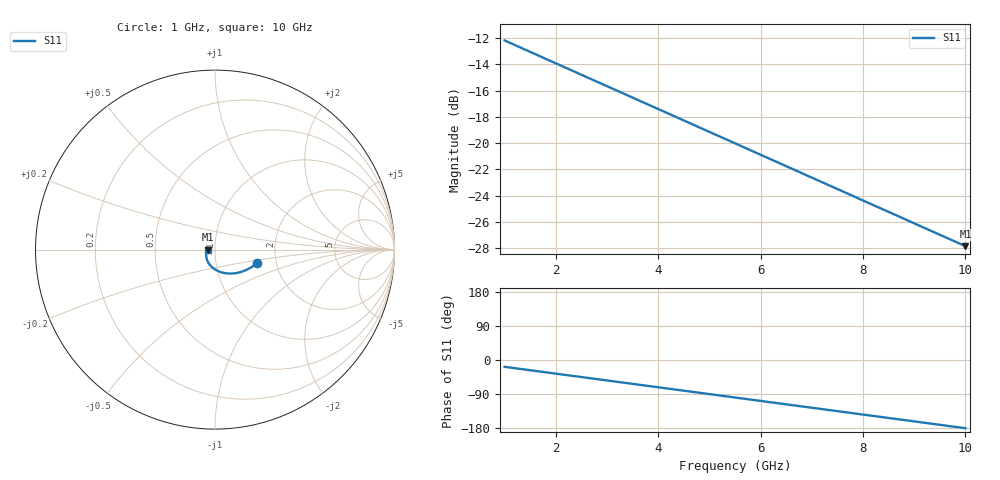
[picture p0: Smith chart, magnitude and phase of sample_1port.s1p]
! Created with skrf 1.8.0 (http://scikit-rf.org).
# Hz S RI R 50.0
!freq ReS11 ImS11
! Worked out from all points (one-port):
!   1001 points, 1 GHz to 10 GHz, reference 50 ohm
!   lowest |S11| = -27.8 dB at 10 GHz (marker M1), VSWR 1.08, Z = 46.1 - j4.59e-16 ohm
!   |S11| at or under -10 dB: start of sweep to end of sweep
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1e9  0.2336 -0.0759
1.045e9  0.2304 -0.0785
1.324e9  0.2106 -0.093
1.576e9  0.1926 -0.104
1.846e9  0.1735 -0.1136
2.125e9  0.154 -0.1214
2.395e9  0.1357 -0.127
2.674e9  0.1173 -0.1309
2.953e9  0.0997 -0.133
3.25e9  0.0818 -0.1335
3.511e9  0.067 -0.1327
3.79e9  0.0522 -0.1305
4.087e9  0.0375 -0.1271
4.375e9  0.0244 -0.1227
4.654e9  0.0128 -0.1176
4.933e9  0.00235 -0.1118
5.212e9  -0.00704 -0.1055
5.5e9  -0.0156 -0.0986
5.779e9  -0.0229 -0.0916
6.058e9  -0.0291 -0.0844
6.625e9  -0.039 -0.0696
7.174e9  -0.0451 -0.0554
7.75e9  -0.0484 -0.0414
8.29e9  -0.0491 -0.0292
8.875e9  -0.0477 -0.0176
9.415e9  -0.0449 -0.00834
9.955e9  -0.041 -0.000579
1e10  -0.0406 -4.97e-18
